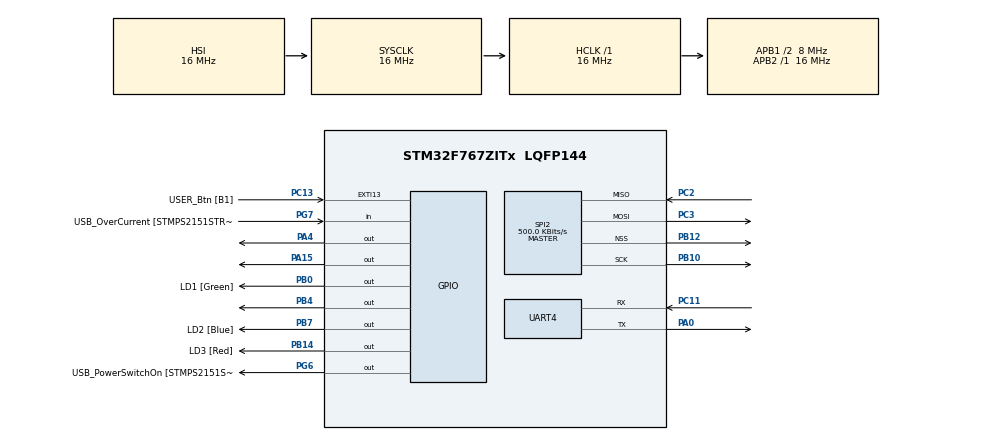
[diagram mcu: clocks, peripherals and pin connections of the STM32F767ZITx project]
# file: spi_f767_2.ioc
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Dma.Request0=UART4_TX
Dma.Request1=SPI2_RX
Dma.Request2=SPI2_TX
Dma.SPI2_RX.1.Direction=DMA_PERIPH_TO_MEMORY
Dma.SPI2_RX.1.FIFOMode=DMA_FIFOMODE_DISABLE
Dma.SPI2_RX.1.Instance=DMA1_Stream1
Dma.SPI2_RX.1.MemDataAlignment=DMA_MDATAALIGN_BYTE
Dma.SPI2_RX.1.MemInc=DMA_MINC_ENABLE
Dma.SPI2_RX.1.Mode=DMA_NORMAL
Dma.SPI2_RX.1.PeriphDataAlignment=DMA_PDATAALIGN_BYTE
Dma.SPI2_RX.1.PeriphInc=DMA_PINC_DISABLE
Dma.SPI2_RX.1.Priority=DMA_PRIORITY_LOW
Dma.SPI2_TX.2.Direction=DMA_MEMORY_TO_PERIPH
Dma.SPI2_TX.2.FIFOMode=DMA_FIFOMODE_DISABLE
Dma.SPI2_TX.2.Instance=DMA1_Stream6
Dma.SPI2_TX.2.MemDataAlignment=DMA_MDATAALIGN_BYTE
Dma.SPI2_TX.2.MemInc=DMA_MINC_ENABLE
Dma.SPI2_TX.2.Mode=DMA_NORMAL
Dma.SPI2_TX.2.PeriphDataAlignment=DMA_PDATAALIGN_BYTE
Dma.SPI2_TX.2.PeriphInc=DMA_PINC_DISABLE
Dma.SPI2_TX.2.Priority=DMA_PRIORITY_LOW
Dma.UART4_TX.0.Direction=DMA_MEMORY_TO_PERIPH
Dma.UART4_TX.0.FIFOMode=DMA_FIFOMODE_DISABLE
Dma.UART4_TX.0.Instance=DMA1_Stream4
Dma.UART4_TX.0.MemDataAlignment=DMA_MDATAALIGN_BYTE
Dma.UART4_TX.0.MemInc=DMA_MINC_ENABLE
Dma.UART4_TX.0.Mode=DMA_NORMAL
Dma.UART4_TX.0.PeriphDataAlignment=DMA_PDATAALIGN_BYTE
Dma.UART4_TX.0.PeriphInc=DMA_PINC_DISABLE
Dma.UART4_TX.0.Priority=DMA_PRIORITY_LOW
Mcu.Family=STM32F7
Mcu.Name=STM32F767ZITx
Mcu.Package=LQFP144
NVIC.DMA1_Stream1_IRQn=true\:0\:0\:false\:false\:true\:false\:true\:true
NVIC.DMA1_Stream4_IRQn=true\:0\:0\:false\:false\:true\:false\:true\:true
NVIC.DMA1_Stream6_IRQn=true\:0\:0\:false\:false\:true\:false\:true\:true
NVIC.PriorityGroup=NVIC_PRIORITYGROUP_4
NVIC.SPI2_IRQn=true\:0\:0\:false\:false\:true\:true\:true\:true
NVIC.UART4_IRQn=true\:0\:0\:false\:false\:true\:true\:true\:true
PA0/WKUP.Mode=Asynchronous
PA0/WKUP.Signal=UART4_TX
PA1.GPIO_Label=RMII_REF_CLK [LAN8742A-CZ-TR_REFCLK0]
PA1.Signal=ETH_REF_CLK
PA10.GPIO_Label=USB_ID
PA10.Signal=USB_OTG_FS_ID
PA11.GPIO_Label=USB_DM
PA11.Signal=USB_OTG_FS_DM
PA12.GPIO_Label=USB_DP
PA12.Signal=USB_OTG_FS_DP
PA13.GPIO_Label=TMS
PA13.Signal=SYS_JTMS-SWDIO
PA14.GPIO_Label=TCK
PA14.Signal=SYS_JTCK-SWCLK
PA15.Signal=GPIO_Output
PA2.GPIO_Label=RMII_MDIO [LAN8742A-CZ-TR_MDIO]
PA2.Signal=ETH_MDIO
PA4.GPIO_PuPd=GPIO_NOPULL
PA4.Signal=GPIO_Output
PA7.GPIO_Label=RMII_CRS_DV [LAN8742A-CZ-TR_CRS_DV]
PA7.Signal=ETH_CRS_DV
PA8.GPIO_Label=USB_SOF [TP1]
PA8.Signal=USB_OTG_FS_SOF
PA9.GPIO_Label=USB_VBUS
PA9.Signal=USB_OTG_FS_VBUS
PB0.GPIO_Label=LD1 [Green]
PB0.Signal=GPIO_Output
PB10.Mode=Full_Duplex_Master
PB10.Signal=SPI2_SCK
PB12.Mode=NSS_Signal_Hard_Output
PB12.Signal=SPI2_NSS
PB13.GPIO_Label=RMII_TXD1 [LAN8742A-CZ-TR_TXD1]
PB13.Signal=ETH_TXD1
PB14.GPIO_Label=LD3 [Red]
PB14.Signal=GPIO_Output
PB3.GPIO_Label=SW0
PB3.Signal=SYS_JTDO-SWO
PB4.Signal=GPIO_Output
PB7.GPIO_Label=LD2 [Blue]
PB7.Signal=GPIO_Output
PC1.GPIO_Label=RMII_MDC [LAN8742A-CZ-TR_MDC]
PC1.Signal=ETH_MDC
PC11.Mode=Asynchronous
PC11.Signal=UART4_RX
PC13.GPIO_Label=USER_Btn [B1]
PC13.Signal=GPXTI13
PC14/OSC32_IN.Signal=RCC_OSC32_IN
PC15/OSC32_OUT.Signal=RCC_OSC32_OUT
PC2.Mode=Full_Duplex_Master
PC2.Signal=SPI2_MISO
PC3.Mode=Full_Duplex_Master
PC3.Signal=SPI2_MOSI
PC4.GPIO_Label=RMII_RXD0 [LAN8742A-CZ-TR_RXD0]
PC4.Signal=ETH_RXD0
PC5.GPIO_Label=RMII_RXD1 [LAN8742A-CZ-TR_RXD1]
PC5.Signal=ETH_RXD1
PD8.GPIO_Label=STLK_RX [STM32F103CBT6_PA3]
PD8.Signal=USART3_TX
PD9.GPIO_Label=STLK_TX [STM32F103CBT6_PA2]
PD9.Signal=USART3_RX
PG11.GPIO_Label=RMII_TX_EN [LAN8742A-CZ-TR_TXEN]
PG11.Signal=ETH_TX_EN
PG13.GPIO_Label=RMII_TXD0 [LAN8742A-CZ-TR_TXD0]
PG13.Signal=ETH_TXD0
PG6.GPIO_Label=USB_PowerSwitchOn [STMPS2151STR_EN]
PG6.Signal=GPIO_Output
PG7.GPIO_Label=USB_OverCurrent [STMPS2151STR_FAULT]
PG7.Signal=GPIO_Input
PH0/OSC_IN.GPIO_Label=MCO [STM32F103CBT6_PA8]
PH0/OSC_IN.Signal=RCC_OSC_IN
PH1/OSC_OUT.Signal=RCC_OSC_OUT
ProjectManager.HeapSize=0x200
ProjectManager.StackSize=0x400
ProjectManager.TargetToolchain=STM32CubeIDE
RCC.48MHZClocksFreq_Value=24000000
RCC.AHBFreq_Value=16000000
RCC.APB1CLKDivider=RCC_HCLK_DIV2
RCC.APB1Freq_Value=8000000
RCC.APB1TimFreq_Value=16000000
RCC.APB2Freq_Value=16000000
RCC.APB2TimFreq_Value=16000000
RCC.CortexFreq_Value=16000000
RCC.HCLKFreq_Value=16000000
RCC.HSE_VALUE=16000000
RCC.HSI_VALUE=16000000
RCC.LSE_VALUE=32768
RCC.PLLMUL=RCC_PLL_MUL9
RCC.PREFETCH_ENABLE=1
RCC.PRESCALERUSB=RCC_USBCLKSOURCE_PLL_DIV1_5
RCC.SYSCLKFreq_VALUE=16000000
RCC.SYSCLKSourceVirtual=RCC_SYSCLKSOURCE_PLLCLK
RCC.USBFreq_Value=96000000
RCC.VCOOutputFreq_Value=192000000
SPI2.BaudRatePrescaler=SPI_BAUDRATEPRESCALER_16
SPI2.CalculateBaudRate=500.0 KBits/s
SPI2.DataSize=SPI_DATASIZE_8BIT
SPI2.Direction=SPI_DIRECTION_2LINES
SPI2.Mode=SPI_MODE_MASTER
SPI2.VirtualNSS=VM_NSSHARD
SPI2.VirtualType=VM_MASTER
board=NUCLEO-F767ZI

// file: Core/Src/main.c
/* USER CODE BEGIN Header */
/**
  ******************************************************************************
  * @file           : main.c
  * @brief          : Main program body
  ******************************************************************************
  * @attention
  *
  * Copyright (c) 2024 STMicroelectronics.
  * All rights reserved.
  *
  * This software is licensed under terms that can be found in the LICENSE file
  * in the root directory of this software component.
  * If no LICENSE file comes with this software, it is provided AS-IS.
  *
  ******************************************************************************
  */
/* USER CODE END Header */
#include "main.h"

SPI_HandleTypeDef hspi2;
DMA_HandleTypeDef hdma_spi2_rx;
DMA_HandleTypeDef hdma_spi2_tx;

UART_HandleTypeDef huart4;
DMA_HandleTypeDef hdma_uart4_tx;

void SystemClock_Config(void);
static void MX_GPIO_Init(void);
static void MX_DMA_Init(void);
static void MX_UART4_Init(void);
static void MX_SPI2_Init(void);

/* USER CODE BEGIN 0 */

#define TRANSFER_SIZE 64

uint8_t transfer_bytes[TRANSFER_SIZE] = {0};
uint8_t receive_bytes[TRANSFER_SIZE] = {0};

void print_to_uart(uint8_t* str){
	HAL_UART_Transmit(&huart4, str, 64, 500);
	HAL_UART_Transmit(&huart4, " ", 1, 500);
}

uint8_t test_str[30] = "my test str";
void HAL_SPI_TxCpltCallback(SPI_HandleTypeDef *hspi)
{
	//HAL_SPI_Receive_DMA(&hspi2, receive_bytes, TRANSFER_SIZE);
	//HAL_GPIO_WritePin(GPIOA, GPIO_PIN_4, GPIO_PIN_SET);
}
void HAL_SPI_RxCpltCallback(SPI_HandleTypeDef *hspi)
{
	//HAL_GPIO_TogglePin(GPIOB, GPIO_PIN_0);
	HAL_GPIO_WritePin(GPIOA, GPIO_PIN_4, GPIO_PIN_SET);
	//HAL_SPI_Receive_DMA(&hspi2, receive_bytes, TRANSFER_SIZE);

}

/* USER CODE END 0 */

int main(void)
{

  /* MCU Configuration--------------------------------------------------------*/

  /* Reset of all peripherals, Initializes the Flash interface and the Systick. */
  HAL_Init();

  /* Configure the system clock */
  SystemClock_Config();

  /* Initialize all configured peripherals */
  MX_GPIO_Init();
  MX_DMA_Init();
  MX_UART4_Init();
  MX_SPI2_Init();
  /* USER CODE BEGIN 2 */

  for (int8_t i = 0; i < TRANSFER_SIZE; i++){
	  transfer_bytes[i] = i + 0;
  }

  //HAL_StatusTypeDef here = HAL_SPI_Transmit_DMA(&hspi1, transfer_bytes, TRANSFER_SIZE);
  //HAL_SPI_Receive_DMA(&hspi2, receive_bytes, TRANSFER_SIZE);
  /* USER CODE END 2 */

  /* Infinite loop */
  /* USER CODE BEGIN WHILE */
  while (1)
  {
	HAL_GPIO_TogglePin(GPIOB, GPIO_PIN_7);
	HAL_Delay(1000);

	HAL_GPIO_WritePin(GPIOA, GPIO_PIN_4, GPIO_PIN_RESET);
	//HAL_StatusTypeDef here = HAL_SPI_Transmit(&hspi2, transfer_bytes, TRANSFER_SIZE, 500);
	//HAL_StatusTypeDef here =  HAL_SPI_Transmit_IT(&hspi1, transfer_bytes, TRANSFER_SIZE);
	HAL_StatusTypeDef here = HAL_SPI_Transmit_DMA(&hspi2, transfer_bytes, TRANSFER_SIZE);

	//print_to_uart(transfer_bytes);
	HAL_Delay(30);
	//HAL_SPI_Receive(&hspi2, receive_bytes, TRANSFER_SIZE, 200);
	HAL_SPI_Receive_DMA(&hspi2, receive_bytes, TRANSFER_SIZE);
	HAL_Delay(30);
	//HAL_GPIO_WritePin(GPIOA, GPIO_PIN_4, GPIO_PIN_SET);

	//print_to_uart(receive_bytes);

	if (here == HAL_ERROR) {
		HAL_GPIO_TogglePin(GPIOB, GPIO_PIN_14);
	}

	print_to_uart(receive_bytes);

    /* USER CODE END WHILE */

  }
}

void SystemClock_Config(void)
{
  RCC_OscInitTypeDef RCC_OscInitStruct = {0};
  RCC_ClkInitTypeDef RCC_ClkInitStruct = {0};

  /** Configure the main internal regulator output voltage
  */
  __HAL_RCC_PWR_CLK_ENABLE();
  __HAL_PWR_VOLTAGESCALING_CONFIG(PWR_REGULATOR_VOLTAGE_SCALE3);

  /** Initializes the RCC Oscillators according to the specified parameters
  * in the RCC_OscInitTypeDef structure.
  */
  RCC_OscInitStruct.OscillatorType = RCC_OSCILLATORTYPE_HSI;
  RCC_OscInitStruct.HSIState = RCC_HSI_ON;
  RCC_OscInitStruct.HSICalibrationValue = RCC_HSICALIBRATION_DEFAULT;
  RCC_OscInitStruct.PLL.PLLState = RCC_PLL_NONE;
  if (HAL_RCC_OscConfig(&RCC_OscInitStruct) != HAL_OK)
  {
    Error_Handler();
  }

  /** Initializes the CPU, AHB and APB buses clocks
  */
  RCC_ClkInitStruct.ClockType = RCC_CLOCKTYPE_HCLK|RCC_CLOCKTYPE_SYSCLK
                              |RCC_CLOCKTYPE_PCLK1|RCC_CLOCKTYPE_PCLK2;
  RCC_ClkInitStruct.SYSCLKSource = RCC_SYSCLKSOURCE_HSI;
  RCC_ClkInitStruct.AHBCLKDivider = RCC_SYSCLK_DIV1;
  RCC_ClkInitStruct.APB1CLKDivider = RCC_HCLK_DIV2;
  RCC_ClkInitStruct.APB2CLKDivider = RCC_HCLK_DIV1;

  if (HAL_RCC_ClockConfig(&RCC_ClkInitStruct, FLASH_LATENCY_0) != HAL_OK)
  {
    Error_Handler();
  }
}

static void MX_SPI2_Init(void)
{

  /* SPI2 parameter configuration*/
  hspi2.Instance = SPI2;
  hspi2.Init.Mode = SPI_MODE_MASTER;
  hspi2.Init.Direction = SPI_DIRECTION_2LINES;
  hspi2.Init.DataSize = SPI_DATASIZE_8BIT;
  hspi2.Init.CLKPolarity = SPI_POLARITY_LOW;
  hspi2.Init.CLKPhase = SPI_PHASE_1EDGE;
  hspi2.Init.NSS = SPI_NSS_HARD_OUTPUT;
  hspi2.Init.BaudRatePrescaler = SPI_BAUDRATEPRESCALER_16;
  hspi2.Init.FirstBit = SPI_FIRSTBIT_MSB;
  hspi2.Init.TIMode = SPI_TIMODE_DISABLE;
  hspi2.Init.CRCCalculation = SPI_CRCCALCULATION_DISABLE;
  hspi2.Init.CRCPolynomial = 7;
  hspi2.Init.CRCLength = SPI_CRC_LENGTH_DATASIZE;
  hspi2.Init.NSSPMode = SPI_NSS_PULSE_ENABLE;
  if (HAL_SPI_Init(&hspi2) != HAL_OK)
  {
    Error_Handler();
  }

}

static void MX_UART4_Init(void)
{

  huart4.Instance = UART4;
  huart4.Init.BaudRate = 115200;
  huart4.Init.WordLength = UART_WORDLENGTH_8B;
  huart4.Init.StopBits = UART_STOPBITS_1;
  huart4.Init.Parity = UART_PARITY_NONE;
  huart4.Init.Mode = UART_MODE_TX_RX;
  huart4.Init.HwFlowCtl = UART_HWCONTROL_NONE;
  huart4.Init.OverSampling = UART_OVERSAMPLING_16;
  huart4.Init.OneBitSampling = UART_ONE_BIT_SAMPLE_DISABLE;
  huart4.AdvancedInit.AdvFeatureInit = UART_ADVFEATURE_NO_INIT;
  if (HAL_UART_Init(&huart4) != HAL_OK)
  {
    Error_Handler();
  }

}

static void MX_DMA_Init(void)
{

  /* DMA controller clock enable */
  __HAL_RCC_DMA1_CLK_ENABLE();

  /* DMA interrupt init */
  /* DMA1_Stream1_IRQn interrupt configuration */
  HAL_NVIC_SetPriority(DMA1_Stream1_IRQn, 0, 0);
  HAL_NVIC_EnableIRQ(DMA1_Stream1_IRQn);
  /* DMA1_Stream4_IRQn interrupt configuration */
  HAL_NVIC_SetPriority(DMA1_Stream4_IRQn, 0, 0);
  HAL_NVIC_EnableIRQ(DMA1_Stream4_IRQn);
  /* DMA1_Stream6_IRQn interrupt configuration */
  HAL_NVIC_SetPriority(DMA1_Stream6_IRQn, 0, 0);
  HAL_NVIC_EnableIRQ(DMA1_Stream6_IRQn);

}

static void MX_GPIO_Init(void)
{
  GPIO_InitTypeDef GPIO_InitStruct = {0};

  /* GPIO Ports Clock Enable */
  __HAL_RCC_GPIOC_CLK_ENABLE();
  __HAL_RCC_GPIOH_CLK_ENABLE();
  __HAL_RCC_GPIOA_CLK_ENABLE();
  __HAL_RCC_GPIOB_CLK_ENABLE();
  __HAL_RCC_GPIOD_CLK_ENABLE();
  __HAL_RCC_GPIOG_CLK_ENABLE();

  /*Configure GPIO pin Output Level */
  HAL_GPIO_WritePin(GPIOA, GPIO_PIN_4|GPIO_PIN_15, GPIO_PIN_RESET);

  /*Configure GPIO pin Output Level */
  HAL_GPIO_WritePin(GPIOB, LD1_Pin|LD3_Pin|GPIO_PIN_4|LD2_Pin, GPIO_PIN_RESET);

  /*Configure GPIO pin Output Level */
  HAL_GPIO_WritePin(USB_PowerSwitchOn_GPIO_Port, USB_PowerSwitchOn_Pin, GPIO_PIN_RESET);

  /*Configure GPIO pin : USER_Btn_Pin */
  GPIO_InitStruct.Pin = USER_Btn_Pin;
  GPIO_InitStruct.Mode = GPIO_MODE_IT_RISING;
  GPIO_InitStruct.Pull = GPIO_NOPULL;
  HAL_GPIO_Init(USER_Btn_GPIO_Port, &GPIO_InitStruct);

  /*Configure GPIO pins : RMII_MDC_Pin RMII_RXD0_Pin RMII_RXD1_Pin */
  GPIO_InitStruct.Pin = RMII_MDC_Pin|RMII_RXD0_Pin|RMII_RXD1_Pin;
  GPIO_InitStruct.Mode = GPIO_MODE_AF_PP;
  GPIO_InitStruct.Pull = GPIO_NOPULL;
  GPIO_InitStruct.Speed = GPIO_SPEED_FREQ_VERY_HIGH;
  GPIO_InitStruct.Alternate = GPIO_AF11_ETH;
  HAL_GPIO_Init(GPIOC, &GPIO_InitStruct);

  /*Configure GPIO pins : RMII_REF_CLK_Pin RMII_MDIO_Pin RMII_CRS_DV_Pin */
  GPIO_InitStruct.Pin = RMII_REF_CLK_Pin|RMII_MDIO_Pin|RMII_CRS_DV_Pin;
  GPIO_InitStruct.Mode = GPIO_MODE_AF_PP;
  GPIO_InitStruct.Pull = GPIO_NOPULL;
  GPIO_InitStruct.Speed = GPIO_SPEED_FREQ_VERY_HIGH;
  GPIO_InitStruct.Alternate = GPIO_AF11_ETH;
  HAL_GPIO_Init(GPIOA, &GPIO_InitStruct);

  /*Configure GPIO pins : PA4 PA15 */
  GPIO_InitStruct.Pin = GPIO_PIN_4|GPIO_PIN_15;
  GPIO_InitStruct.Mode = GPIO_MODE_OUTPUT_PP;
  GPIO_InitStruct.Pull = GPIO_NOPULL;
  GPIO_InitStruct.Speed = GPIO_SPEED_FREQ_LOW;
  HAL_GPIO_Init(GPIOA, &GPIO_InitStruct);

  /*Configure GPIO pins : LD1_Pin LD3_Pin PB4 LD2_Pin */
  GPIO_InitStruct.Pin = LD1_Pin|LD3_Pin|GPIO_PIN_4|LD2_Pin;
  GPIO_InitStruct.Mode = GPIO_MODE_OUTPUT_PP;
  GPIO_InitStruct.Pull = GPIO_NOPULL;
  GPIO_InitStruct.Speed = GPIO_SPEED_FREQ_LOW;
  HAL_GPIO_Init(GPIOB, &GPIO_InitStruct);

  /*Configure GPIO pin : RMII_TXD1_Pin */
  GPIO_InitStruct.Pin = RMII_TXD1_Pin;
  GPIO_InitStruct.Mode = GPIO_MODE_AF_PP;
  GPIO_InitStruct.Pull = GPIO_NOPULL;
  GPIO_InitStruct.Speed = GPIO_SPEED_FREQ_VERY_HIGH;
  GPIO_InitStruct.Alternate = GPIO_AF11_ETH;
  HAL_GPIO_Init(RMII_TXD1_GPIO_Port, &GPIO_InitStruct);

  /*Configure GPIO pins : STLK_RX_Pin STLK_TX_Pin */
  GPIO_InitStruct.Pin = STLK_RX_Pin|STLK_TX_Pin;
  GPIO_InitStruct.Mode = GPIO_MODE_AF_PP;
  GPIO_InitStruct.Pull = GPIO_NOPULL;
  GPIO_InitStruct.Speed = GPIO_SPEED_FREQ_VERY_HIGH;
  GPIO_InitStruct.Alternate = GPIO_AF7_USART3;
  HAL_GPIO_Init(GPIOD, &GPIO_InitStruct);

  /*Configure GPIO pin : USB_PowerSwitchOn_Pin */
  GPIO_InitStruct.Pin = USB_PowerSwitchOn_Pin;
  GPIO_InitStruct.Mode = GPIO_MODE_OUTPUT_PP;
  GPIO_InitStruct.Pull = GPIO_NOPULL;
  GPIO_InitStruct.Speed = GPIO_SPEED_FREQ_LOW;
  HAL_GPIO_Init(USB_PowerSwitchOn_GPIO_Port, &GPIO_InitStruct);

  /*Configure GPIO pin : USB_OverCurrent_Pin */
  GPIO_InitStruct.Pin = USB_OverCurrent_Pin;
  GPIO_InitStruct.Mode = GPIO_MODE_INPUT;
  GPIO_InitStruct.Pull = GPIO_NOPULL;
  HAL_GPIO_Init(USB_OverCurrent_GPIO_Port, &GPIO_InitStruct);

  /*Configure GPIO pins : USB_SOF_Pin USB_ID_Pin USB_DM_Pin USB_DP_Pin */
  GPIO_InitStruct.Pin = USB_SOF_Pin|USB_ID_Pin|USB_DM_Pin|USB_DP_Pin;
  GPIO_InitStruct.Mode = GPIO_MODE_AF_PP;
  GPIO_InitStruct.Pull = GPIO_NOPULL;
  GPIO_InitStruct.Speed = GPIO_SPEED_FREQ_VERY_HIGH;
  GPIO_InitStruct.Alternate = GPIO_AF10_OTG_FS;
  HAL_GPIO_Init(GPIOA, &GPIO_InitStruct);

  /*Configure GPIO pin : USB_VBUS_Pin */
  GPIO_InitStruct.Pin = USB_VBUS_Pin;
  GPIO_InitStruct.Mode = GPIO_MODE_INPUT;
  GPIO_InitStruct.Pull = GPIO_NOPULL;
  HAL_GPIO_Init(USB_VBUS_GPIO_Port, &GPIO_InitStruct);

  /*Configure GPIO pins : RMII_TX_EN_Pin RMII_TXD0_Pin */
  GPIO_InitStruct.Pin = RMII_TX_EN_Pin|RMII_TXD0_Pin;
  GPIO_InitStruct.Mode = GPIO_MODE_AF_PP;
  GPIO_InitStruct.Pull = GPIO_NOPULL;
  GPIO_InitStruct.Speed = GPIO_SPEED_FREQ_VERY_HIGH;
  GPIO_InitStruct.Alternate = GPIO_AF11_ETH;
  HAL_GPIO_Init(GPIOG, &GPIO_InitStruct);

}

void Error_Handler(void)
{
  __disable_irq();
  while (1)
  {
  }
}
